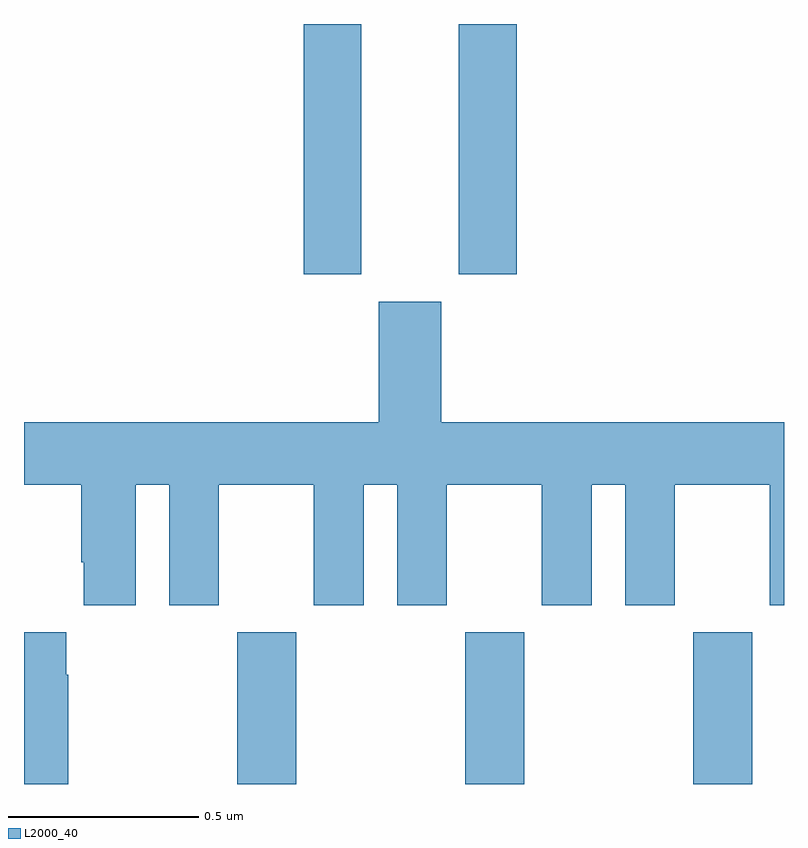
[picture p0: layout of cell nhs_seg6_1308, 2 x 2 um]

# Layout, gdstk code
import gdstk
lib = gdstk.Library(unit=1e-6, precision=1e-09)
def R(c, l, rs):  # rectangles x0, y0, x1, y1
    for r in rs: c.add(gdstk.rectangle(r[:2], r[2:], *l))
def A(c, l, x, y, w, h, nx, ny, dx, dy):  # array of equal rectangles
    R(c, l, [(x+i*dx, y+j*dy, x+i*dx+w, y+j*dy+h) for i in range(nx) for j in range(ny)])
def P(c, l, *ps):  # polygons
    for p in ps: c.add(gdstk.Polygon(p, *l))
L2000_40 = (2000, 40)

nhs_seg6_1308 = lib.new_cell('nhs_seg6_1308')
A(nhs_seg6_1308, L2000_40, 127.561, 994.5, 0.155, 0.4, 3, 1, 0.6, 0)
R(nhs_seg6_1308, L2000_40, [(127.736,995.841,127.888,996.5), (128.144,995.841,128.297,996.5)])
P(nhs_seg6_1308, L2000_40, [(127.294,995.288),(127.382,995.288),(127.382,994.971),(127.513,994.971),(127.513,995.288),(127.763,995.288),(127.763,994.971),(127.894,994.971),(127.894,995.288),(127.982,995.288),(127.982,994.971),(128.113,994.971),(128.113,995.288),(128.363,995.288),(128.363,994.971),(128.494,994.971),(128.494,995.288),(128.582,995.288),(128.582,994.971),(128.713,994.971),(128.713,995.288),(128.963,995.288),(128.963,994.971),(129,994.971),(129,995.452),(128.098,995.452),(128.098,995.769),(127.934,995.769),(127.934,995.452),(127,995.452),(127,995.288),(127.151,995.288),(127.151,995.083),(127.157,995.083),(127.157,994.971),(127.294,994.971)],
  [(127.116,994.787),(127.111,994.787),(127.111,994.9),(127,994.9),(127,994.5),(127.116,994.5)])

lib.write_gds('nhs_seg6_1308.gds')
